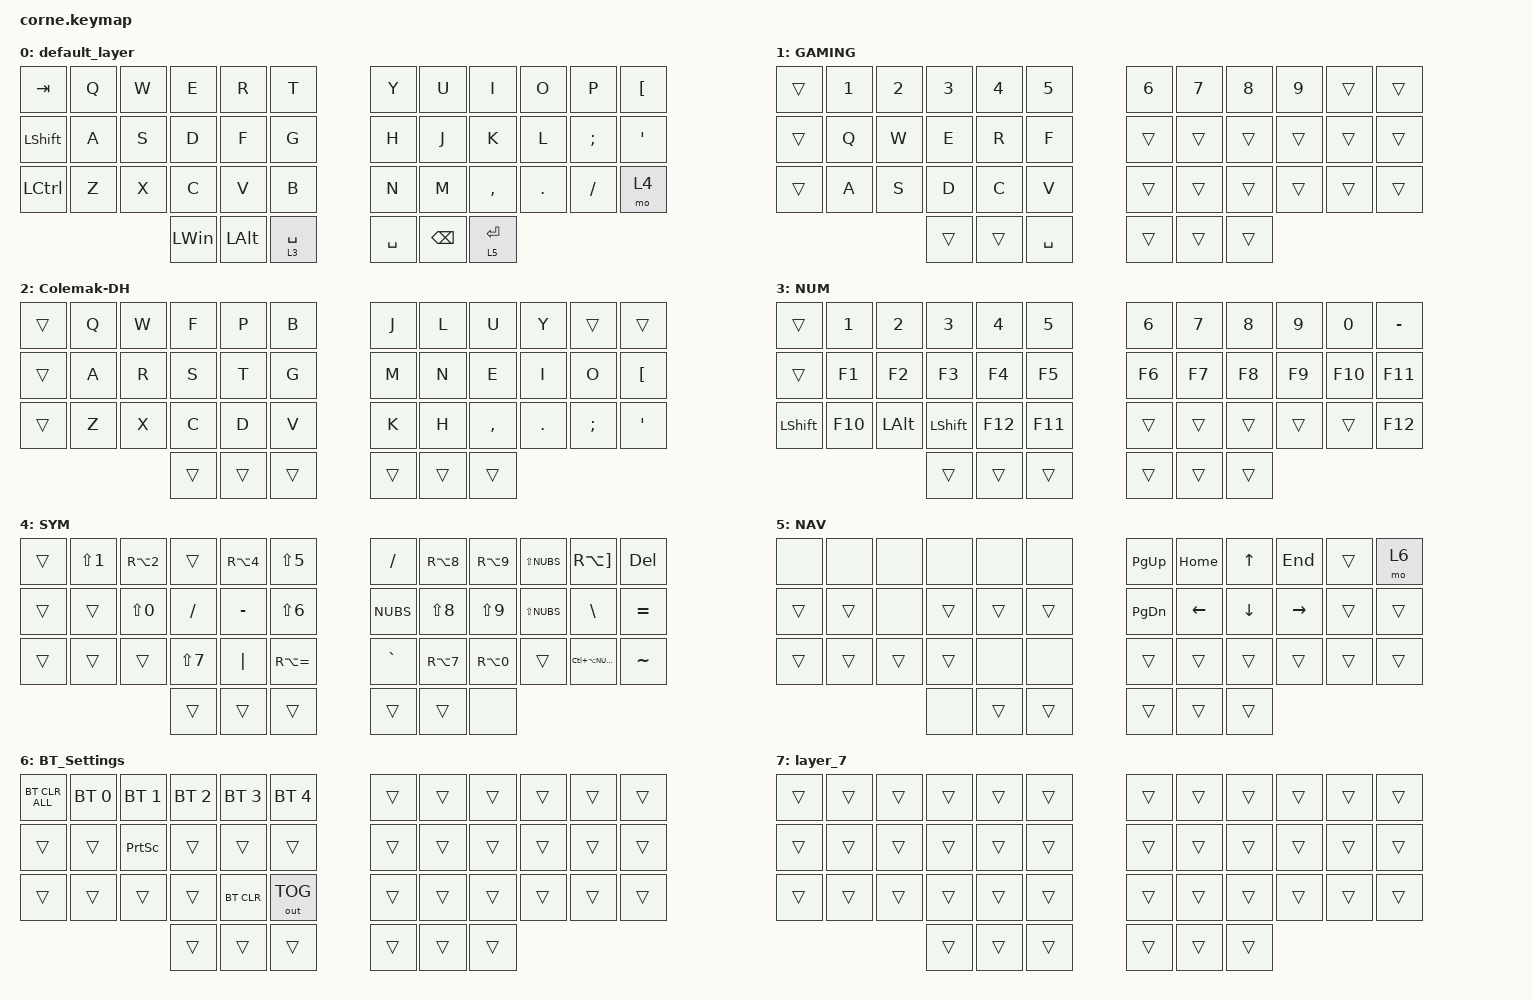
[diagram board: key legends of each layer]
/*
 * Copyright (c) 2020 The ZMK Contributors
 *
 * SPDX-License-Identifier: MIT
 */

#include <behaviors.dtsi>
#include <dt-bindings/zmk/bt.h>
#include <dt-bindings/zmk/keys.h>
#include <dt-bindings/zmk/outputs.h>

/ {
    behaviors {
        lt_spc: lt_spc {
            compatible = "zmk,behavior-hold-tap";
            label = "LT_SPC";
            bindings = <&mo>, <&kp>;

            #binding-cells = <2>;
            tapping-term-ms = <200>;
        };
    };

    combos {
        compatible = "zmk,combos";

        Layout-Qwerty {
            bindings = <&to 0>;
            key-positions = <1 2 4 3>;
        };

        Layout-ColemakDH {
            bindings = <&to 2>;
            key-positions = <25 26 27 28>;
        };

        lambda-combo {
            bindings = <&lambda>;
            key-positions = <9 10 8>;
        };

        gaming-toggle {
            bindings = <&tog 1>;
            key-positions = <36 41 40 37>;
        };

        left-parenthesis {
            bindings = <&kp LS(N8)>;
            key-positions = <19 20>;
        };

        right-parenthesis {
            bindings = <&kp LS(N9)>;
            key-positions = <20 21>;
        };

        left-bracket {
            bindings = <&kp RA(N8)>;
            key-positions = <7 8>;
        };

        right-bracket {
            bindings = <&kp RA(N9)>;
            key-positions = <8 9>;
        };

        left-brace {
            bindings = <&kp RA(N7)>;
            key-positions = <31 32>;
        };

        right-brace {
            bindings = <&kp RA(N0)>;
            key-positions = <32 33>;
        };

        parentheses {
            bindings = <&parentheses>;
            key-positions = <19 20 21>;
        };

        brackets {
            bindings = <&brackets>;
            key-positions = <7 8 9>;
        };

        braces {
            bindings = <&braces>;
            key-positions = <31 32 33>;
        };

        select-current {
            bindings = <&select_current>;
            key-positions = <11 23 35>;
        };

        less-than {
            bindings = <&kp NUBS>;
            key-positions = <18 19>;
        };

        more-than {
            bindings = <&kp LS(NUBS)>;
            key-positions = <21 22>;
        };

        delete-alt-backspace {
            bindings = <&kp DELETE>;
            key-positions = <10 11>;
        };

        email {
            bindings = <&email>;
            key-positions = <10 9 11>;
        };

        crocodiles {
            bindings = <&crocodiles>;
            key-positions = <18 19 20 21>;
        };

        long-space {
            bindings = <&kp SPACE>;
            key-positions = <37 36>;
        };

        escape-combo {
            bindings = <&kp ESCAPE>;
            key-positions = <0 1>;
        };
    };

    macros {
        lambda: lambda {
            compatible = "zmk,behavior-macro";
            #binding-cells = <0>;
            bindings = <&kp LS(NUMBER_0) &kp LS(NON_US_BSLH)>;
            label = "LAMBDA";
        };

        parentheses: parentheses {
            compatible = "zmk,behavior-macro";
            #binding-cells = <0>;
            bindings = <&kp LS(N8) &kp LS(N9) &kp LEFT_ARROW>;
            label = "PARENTHESES";
        };

        brackets: brackets {
            compatible = "zmk,behavior-macro";
            #binding-cells = <0>;
            bindings = <&kp RA(N8) &kp RA(N9) &kp LEFT_ARROW>;
            label = "BRACKETS";
        };

        braces: braces {
            compatible = "zmk,behavior-macro";
            #binding-cells = <0>;
            bindings = <&kp RA(N7) &kp RA(N0) &kp LEFT_ARROW>;
            label = "BRACES";
        };

        select_current: select_current {
            compatible = "zmk,behavior-macro";
            #binding-cells = <0>;
            bindings = <&kp LC(RIGHT) &kp LS(LC(LEFT))>;
            label = "SELECT_CURRENT";
        };

        email: email {
            compatible = "zmk,behavior-macro";
            #binding-cells = <0>;
            bindings = <&none &kp J &kp A &kp C &kp O &kp B &kp L &kp Y &kp N &kp G &kp G &kp A &kp A &kp R &kp D &kp O &kp L &kp S &kp E &kp N &kp RA(NUMBER_2) &kp H &kp O &kp T &kp M &kp A &kp I &kp L &kp DOT &kp C &kp O &kp M>;
            label = "EMAIL";
            wait-ms = <0>;
            tap-ms = <1>;
        };

        crocodiles: crocodiles {
            compatible = "zmk,behavior-macro";
            #binding-cells = <0>;
            bindings = <&kp NON_US_BSLH &kp LS(NON_US_BSLH)>;
            label = "CROCODILES";
        };
    };

    keymap {
        compatible = "zmk,keymap";

        default_layer {
            // -----------------------------------------------------------------------------------------
            // |  TAB |  Q  |  W  |  E  |  R  |  T  |   |  Y  |  U   |  I  |  O  |  P  | BKSP |
            // | CTRL |  A  |  S  |  D  |  F  |  G  |   |  H  |  J   |  K  |  L  |  ;  |  '   |
            // | SHFT |  Z  |  X  |  C  |  V  |  B  |   |  N  |  M   |  ,  |  .  |  /  | ESC  |
            //                    | GUI | LWR | SPC |   | ENT | RSE  | ALT |

            bindings = <
&kp TAB    &kp Q  &kp W  &kp E         &kp R     &kp T              &kp Y      &kp U          &kp I        &kp O    &kp P     &kp LEFT_BRACKET
&kp LSHFT  &kp A  &kp S  &kp D         &kp F     &kp G              &kp H      &kp J          &kp K        &kp L    &kp SEMI  &kp SQT
&kp LCTRL  &kp Z  &kp X  &kp C         &kp V     &kp B              &kp N      &kp M          &kp COMMA    &kp DOT  &kp FSLH  &mo 4
                         &kp LEFT_WIN  &kp LALT  &lt_spc 3 SPACE    &kp SPACE  &kp BACKSPACE  &lt 5 ENTER
            >;
        };

        GAMING {
            bindings = <
&trans  &kp N1  &kp N2  &kp N3  &kp N4  &kp N5       &kp N6  &kp N7  &kp N8  &kp N9  &trans  &trans
&trans  &kp Q   &kp W   &kp E   &kp R   &kp F        &trans  &trans  &trans  &trans  &trans  &trans
&trans  &kp A   &kp S   &kp D   &kp C   &kp V        &trans  &trans  &trans  &trans  &trans  &trans
                        &trans  &trans  &kp SPACE    &trans  &trans  &trans
            >;
        };

        Colemak-DH {
            bindings = <
&trans  &kp Q  &kp W  &kp F   &kp P   &kp B     &kp J   &kp L   &kp U      &kp Y    &trans    &trans
&trans  &kp A  &kp R  &kp S   &kp T   &kp G     &kp M   &kp N   &kp E      &kp I    &kp O     &kp LEFT_BRACKET
&trans  &kp Z  &kp X  &kp C   &kp D   &kp V     &kp K   &kp H   &kp COMMA  &kp DOT  &kp SEMI  &kp SQT
                      &trans  &trans  &trans    &trans  &trans  &trans
            >;
        };

        NUM {
            // -----------------------------------------------------------------------------------------
            // |  TAB |  1  |  2  |  3  |  4  |  5  |   |  6  |  7  |  8  |  9  |  0  | BKSP |
            // | BTCLR| BT1 | BT2 | BT3 | BT4 | BT5 |   | LFT | DWN |  UP | RGT |     |      |
            // | SHFT |     |     |     |     |     |   |     |     |     |     |     |      |
            //                    | GUI |     | SPC |   | ENT |     | ALT |

            bindings = <
&trans     &kp N1   &kp N2    &kp N3      &kp N4   &kp N5     &kp N6  &kp N7  &kp N8  &kp N9  &kp N0   &kp MINUS
&trans     &kp F1   &kp F2    &kp F3      &kp F4   &kp F5     &kp F6  &kp F7  &kp F8  &kp F9  &kp F10  &kp F11
&kp LSHFT  &kp F10  &kp LALT  &kp LSHIFT  &kp F12  &kp F11    &trans  &trans  &trans  &trans  &trans   &kp F12
                              &trans      &trans   &trans     &trans  &trans  &trans
            >;
        };

        SYM {
            // -----------------------------------------------------------------------------------------
            // |  TAB |  !  |  @  |  #  |  $  |  %  |   |  ^  |  &  |  *  |  (  |  )  | BKSP |
            // | CTRL |     |     |     |     |     |   |  -  |  =  |  [  |  ]  |  \  |  `   |
            // | SHFT |     |     |     |     |     |   |  _  |  +  |  {  |  }  | "|" |  ~   |
            //                    | GUI |     | SPC |   | ENT |     | ALT |

            bindings = <
&trans  &kp LS(NUMBER_1)  &kp RA(NUMBER_2)  &trans            &kp RA(NUMBER_4)  &kp LS(NUMBER_5)    &kp SLASH  &kp RA(NUMBER_8)  &kp RA(NUMBER_9)  &kp LS(NUBS)  &kp RA(RIGHT_BRACKET)  &kp DELETE
&trans  &trans            &kp LS(NUMBER_0)  &kp SLASH         &kp MINUS         &kp LS(NUMBER_6)    &kp NUBS   &kp LS(NUMBER_8)  &kp LS(NUMBER_9)  &kp LS(NUBS)  &kp BSLH               &kp EQUAL
&trans  &trans            &trans            &kp LS(NUMBER_7)  &kp PIPE          &kp RA(EQUAL)       &kp GRAVE  &kp RA(NUMBER_7)  &kp RA(NUMBER_0)  &trans        &kp LC(LA(NUBS))       &kp TILDE
                                            &trans            &trans            &trans              &trans     &trans            &none
            >;
        };

        NAV {
            bindings = <
&none   &none   &none   &none   &none   &none     &kp PG_UP  &kp HOME        &kp UP_ARROW    &kp END          &trans  &mo 6
&trans  &trans  &none   &trans  &trans  &trans    &kp PG_DN  &kp LEFT_ARROW  &kp DOWN_ARROW  &kp RIGHT_ARROW  &trans  &trans
&trans  &trans  &trans  &trans  &none   &none     &trans     &trans          &trans          &trans           &trans  &trans
                        &none   &trans  &trans    &trans     &trans          &trans
            >;
        };

        BT_Settings {
            bindings = <
&bt BT_CLR_ALL  &bt BT_SEL 0  &bt BT_SEL 1     &bt BT_SEL 2  &bt BT_SEL 3  &bt BT_SEL 4    &trans  &trans  &trans  &trans  &trans  &trans
&trans          &trans        &kp PRINTSCREEN  &trans        &trans        &trans          &trans  &trans  &trans  &trans  &trans  &trans
&trans          &trans        &trans           &trans        &bt BT_CLR    &out OUT_TOG    &trans  &trans  &trans  &trans  &trans  &trans
                                               &trans        &trans        &trans          &trans  &trans  &trans
            >;
        };

        layer_7 {
            bindings = <
&trans  &trans  &trans  &trans  &trans  &trans    &trans  &trans  &trans  &trans  &trans  &trans
&trans  &trans  &trans  &trans  &trans  &trans    &trans  &trans  &trans  &trans  &trans  &trans
&trans  &trans  &trans  &trans  &trans  &trans    &trans  &trans  &trans  &trans  &trans  &trans
                        &trans  &trans  &trans    &trans  &trans  &trans
            >;
        };
    };
};
